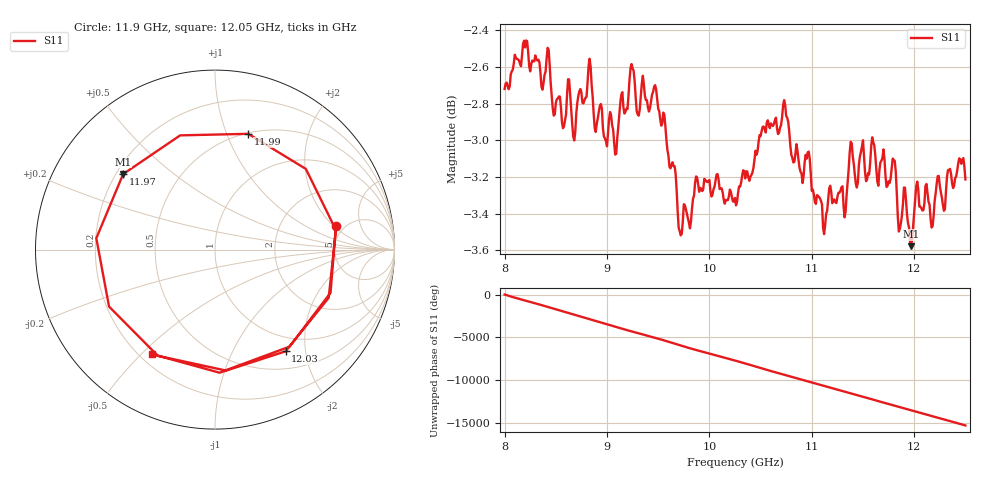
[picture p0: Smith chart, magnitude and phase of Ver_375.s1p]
#  HZ  S  RI  R  50.00
! Rohde & Schwarz Vector Network Analyzer
! Rohde-Schwarz,ZNA43-4Port,1332450044101932,2.92
! Created: UTC 6/2/2026, 7:42:18 AM
! freq[Hz]  re:S11  im:S11
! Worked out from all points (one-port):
!   451 points, 8 GHz to 12.5 GHz, reference 50 ohm
!   lowest |S11| = -3.6 dB at 11.97 GHz (marker M1), VSWR 4.93, Z = 11.4 + j17.1 ohm
!   |S11| at or under -10 dB: nowhere
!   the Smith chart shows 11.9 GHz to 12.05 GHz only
!   S11 on the Smith chart (normalised r, x): 11.9 GHz: 4.25, +2.16; 11.97 GHz: 0.23, +0.34; 11.99 GHz: 0.51, +1.19; 12.03 GHz: 0.76, -1.64; 12.05 GHz: 0.25, -0.54
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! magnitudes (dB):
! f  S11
! 8 GHz  -2.7
! 8.2 GHz  -2.5
! 8.42 GHz  -2.5
! 8.57 GHz  -2.9
! 8.63 GHz  -2.7
! 8.68 GHz  -3.0
! 8.83 GHz  -2.6
! 8.98 GHz  -3.0
! 9.09 GHz  -3.1
! 9.13 GHz  -2.8
! 9.24 GHz  -2.6
! 9.3 GHz  -2.9
! 9.47 GHz  -2.7
! 9.69 GHz  -3.4
! 10.25 GHz  -3.3
! 10.73 GHz  -2.8
! 10.82 GHz  -3.1
! 10.96 GHz  -3.1
! 11.13 GHz  -3.5
! 11.33 GHz  -3.4
! 11.38 GHz  -3.0
! 11.9 GHz  -3.3
! 11.94 GHz  -3.5
! 11.97 GHz  -3.6
! 11.99 GHz  -3.5
! 12.03 GHz  -3.2
! 12.05 GHz  -3.4
! 12.5 GHz  -3.2
